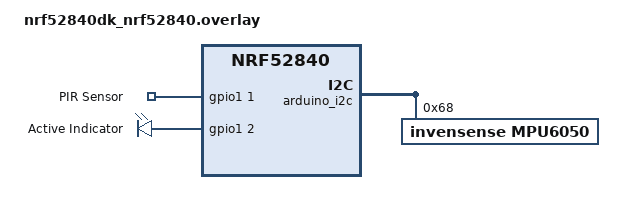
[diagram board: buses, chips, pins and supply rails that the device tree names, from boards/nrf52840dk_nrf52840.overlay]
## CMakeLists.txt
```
# SPDX-License-Identifier: MIT
cmake_minimum_required(VERSION 3.20)
find_package(Zephyr REQUIRED HINTS $ENV{ZEPHYR_BASE})
project(bthome_tut2_pm)
target_sources(app PRIVATE
    src/main.c
    src/sensors/sensor_die_temp.c
    src/sensors/sensor_imu.c
    src/sensors/sensor_pir.c
)
target_include_directories(app PRIVATE src)
```

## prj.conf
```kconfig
# ── Bluetooth ──────────────────────────────────────────────────────────────
CONFIG_BT=y
CONFIG_BT_PERIPHERAL=y
CONFIG_BT_DEVICE_NAME="MAKE-020"

# ── BThome V2 library ───────────────────────────────────────────────────────
CONFIG_BTHOME_V2=y

# ── Sensor framework ────────────────────────────────────────────────────────
CONFIG_SENSOR=y
CONFIG_I2C=y

# ── nRF52 internal die-temperature sensor ───────────────────────────────────
CONFIG_TEMP_NRF5=y

# ── IMU: select ONE depending on hardware (see board-specific .conf files) ──
# CONFIG_MPU6050=y     # nRF52840-DK + MPU-6050 breakout
# CONFIG_LSM6DSL=y     # Seeed XIAO nRF52840 Sense (LSM6DS3 = LSM6DSL-compatible)

# ── GPIO ────────────────────────────────────────────────────────────────────
CONFIG_GPIO=y

# ── Logging ─────────────────────────────────────────────────────────────────
# Enabled for development (nRF52840-DK via RTT / UART).
# On XIAO targets this is overridden to CONFIG_LOG=n via boards/xiao_ble*.conf
# to eliminate the deferred-log work queue as a wake-up source.
# LOG_DEFAULT_LEVEL is intentionally not set — Zephyr default is INF (3).
CONFIG_LOG=y

# ── Stack sizes ─────────────────────────────────────────────────────────────
CONFIG_MAIN_STACK_SIZE=2048
CONFIG_BT_RX_STACK_SIZE=1024

# ── Power Management ─────────────────────────────────────────────────────────
# NOTE: CONFIG_PM (System Power Management) is intentionally NOT set here.
# On nRF52, the Zephyr Kconfig chain does not select HAS_PM, so CONFIG_PM=y
# would be silently ignored anyway.  The CPU enters System ON / CPU asleep
# (WFI) via the kernel idle thread — no extra CONFIG_PM hook needed.
#
# What IS useful on nRF52:
#   PM_DEVICE=y          → enables pm_device_action_run() for manual suspend/resume
#   TICKLESS_KERNEL=y    → SysTick stops during sleep (~300 µA saved on DK)
#
# CONFIG_PM_DEVICE_RUNTIME=y is also NOT set: it auto-suspends devices during
# kernel idle, but that mechanism requires CONFIG_PM=y to trigger.  Without it,
# we do explicit suspend/resume in main() around k_sleep() instead.
CONFIG_PM_DEVICE=y
CONFIG_TICKLESS_KERNEL=y
CONFIG_IDLE_STACK_SIZE=512
```

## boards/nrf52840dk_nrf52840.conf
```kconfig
# nRF52840-DK board-specific config for bthome_full_node
# IMU: MPU-6050 breakout connected via Arduino-I2C header (SDA=P0.26, SCL=P0.27)
CONFIG_MPU6050=y

# ── Power saving ──────────────────────────────────────────────────────────────
# SERIAL/UARTE0 holds a 16 MHz HFINT request as soon as the driver initialises.
# Same applies to CONSOLE and LOG output — all disabled for sleep measurements.
CONFIG_SERIAL=n
CONFIG_CONSOLE=n
CONFIG_UART_CONSOLE=n
CONFIG_LOG=n

# ── BLE deep-sleep: full MPSL uninit dependency chain ────────────────────────
# See boards/xiao_ble.conf for explanation.
CONFIG_DYNAMIC_INTERRUPTS=y
CONFIG_DYNAMIC_DIRECT_INTERRUPTS=y
CONFIG_MPSL_DYNAMIC_INTERRUPTS=y
CONFIG_BT_UNINIT_MPSL_ON_DISABLE=y
```

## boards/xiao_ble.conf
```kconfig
# Seeed XIAO nRF52840 (plain) — board-specific config for bthome_tut2 (PM)
#
# The XIAO nRF52840 has NO external 32.768 kHz crystal.
# Use the internal RC oscillator (LFRC) for BLE — mandatory!
# With RC source the default accuracy is already 500 PPM (no extra config needed).
CONFIG_CLOCK_CONTROL_NRF_K32SRC_RC=y

# Plain XIAO has no IMU — use xiao_ble_sense for the Sense variant.

# ── Power saving (same logic as xiao_ble_sense.conf) ─────────────────────────
CONFIG_USB_DEVICE_STACK=n
# NOTE: Kconfig will emit a harmless warning about USB_CDC_ACM_LOG_LEVEL_OFF
# being an orphaned choice symbol.  This is a known issue in the xiao_ble
# board defconfig (upstream): it sets USB_CDC_ACM_LOG_LEVEL_OFF=y, but when
# USB_DEVICE_STACK=n the USB_CDC_ACM choice group is gone.  There is no way
# to suppress this from an overlay .conf — a board-defconfig patch is needed.
CONFIG_SERIAL=n
CONFIG_CONSOLE=n
CONFIG_UART_CONSOLE=n
CONFIG_LOG=n

# ── BLE deep-sleep: MPSL must be uninitialized on bt_disable() ───────────────
# Without this flag, bt_disable() calls sdc_disable() but leaves MPSL running.
# MPSL holds a HFCLK request via the clock-control driver → 16 MHz HFINT stays
# on → ~600 µA base current even with the CPU in WFI.
# With this flag, bt_disable() also calls mpsl_lib_uninit(), which releases
# every HFCLK request and allows the nRF52840 to reach System ON idle (~5 µA).
#
# BT_UNINIT_MPSL_ON_DISABLE depends on MPSL_DYNAMIC_INTERRUPTS, which in turn
# depends on DYNAMIC_DIRECT_INTERRUPTS → DYNAMIC_INTERRUPTS.  ALL four options
# are required; Kconfig silently ignores BT_UNINIT_MPSL_ON_DISABLE if any
# dependency in the chain is missing.
CONFIG_DYNAMIC_INTERRUPTS=y
CONFIG_DYNAMIC_DIRECT_INTERRUPTS=y
CONFIG_MPSL_DYNAMIC_INTERRUPTS=y
CONFIG_BT_UNINIT_MPSL_ON_DISABLE=y

# ── LFRC calibration: must be disabled when using BT_UNINIT_MPSL_ON_DISABLE ──
# Zephyr's LFRC calibration (nrf_clock_calibration.c) fires a k_timer every
# CONFIG_CLOCK_CONTROL_NRF_CALIBRATION_PERIOD ms.  With CALIBRATION_MAX_SKIP>0
# it compiles USE_TEMP_SENSOR=1, meaning the calibration callback reads
# temperature via mpsl_temperature_get().  After mpsl_lib_uninit(), that call
# blocks indefinitely → hf_release() is never called → HFCLK stays on at
# 630 µA permanently.  A second timer fire adds another +500 µA.
# MPSL manages its own LFRC calibration internally during BLE active phases;
# the Zephyr-level calibration is redundant and dangerous in this configuration.
CONFIG_CLOCK_CONTROL_NRF_K32SRC_RC_CALIBRATION=n
```

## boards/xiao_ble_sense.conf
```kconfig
# Seeed XIAO nRF52840 Sense — board-specific config for bthome_tut2 (PM)
#
# The XIAO nRF52840 has NO external 32.768 kHz crystal.
# Use the internal RC oscillator (LFRC) for BLE — mandatory!
# With RC source the default accuracy is already 500 PPM (no extra config needed).
CONFIG_CLOCK_CONTROL_NRF_K32SRC_RC=y

# IMU: LSM6DS3TR-C on the Sense variant (LSM6DSL-compatible driver)
CONFIG_LSM6DSL=y

# ── Power saving ─────────────────────────────────────────────────────────────
#
# Board defconfig (xiao_ble_defconfig) enables USB + UART + CONSOLE by default.
# All three must be explicitly overridden to reach µA-range idle current.
#
# Current breakdown (measured with PPK2):
#   USB_DEVICE_STACK=y  → ~1.1 mA  (USB SOF IRQ every 1 ms, keeps HFXO alive)
#   SERIAL=y            → ~1.0 mA  (UARTE0 keeps 16 MHz HFINT oscillator running)
#   Both off + WFI      → ~5–15 µA (System ON / CPU asleep, BLE LFRC polling)

# Disable USB (was default-on, prevents deep sleep)
CONFIG_USB_DEVICE_STACK=n
CONFIG_USB_CDC_ACM=n
# NOTE: Kconfig emits a harmless warning about USB_CDC_ACM_LOG_LEVEL_OFF (see
# boards/xiao_ble.conf for explanation).  Not fixable without a board patch.

# !! MAIN FIX !!
# Disable UART driver — this is the dominant ~1 mA drain.
# UARTE0 keeps the 16 MHz HFINT oscillator running at all times once initialized,
# even when no data is being transferred.  Setting SERIAL=n prevents the nrfx
# UARTE driver from being compiled and the peripheral from being initialized.
CONFIG_SERIAL=n

# With neither USB nor UART there is no physical output path.
# Disable all console / log output to match.
CONFIG_CONSOLE=n
CONFIG_UART_CONSOLE=n
CONFIG_LOG=n

# ── BLE deep-sleep: MPSL must be uninitialized on bt_disable() ───────────────
# See xiao_ble.conf for full explanation and dependency chain.
CONFIG_DYNAMIC_INTERRUPTS=y
CONFIG_DYNAMIC_DIRECT_INTERRUPTS=y
CONFIG_MPSL_DYNAMIC_INTERRUPTS=y
CONFIG_BT_UNINIT_MPSL_ON_DISABLE=y

# ── LFRC calibration: must be disabled — see xiao_ble.conf for explanation ───
CONFIG_CLOCK_CONTROL_NRF_K32SRC_RC_CALIBRATION=n
```

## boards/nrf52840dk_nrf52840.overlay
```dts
/* SPDX-License-Identifier: MIT */
/*
 * bthome_full_node overlay for nRF52840-DK
 *
 * Hardware assumptions:
 *   I2C IMU  : MPU-6050 breakout @ 0x68 on Arduino-I2C header
 *              (SDA = P0.26 / Arduino A4, SCL = P0.27 / Arduino A5)
 *   PIR GPIO : Signal pin → P1.01 (Arduino D0), power via 3.3 V header
 */

/* ── MPU-6050 on the Arduino-compatible I2C bus (i2c0) ─────────────────── */
&arduino_i2c {
	mpu6050: mpu6050@68 {
		compatible = "invensense,mpu6050";
		reg = <0x68>;
		status = "okay";
	};
};

/* ── PIR sensor GPIO ────────────────────────────────────────────────────── */
/ {
	pir_inputs: pir_inputs {
		compatible = "gpio-keys";
		pir0: pir_0 {
			gpios = <&gpio1 1 (GPIO_ACTIVE_HIGH | GPIO_PULL_DOWN)>;
			label = "PIR Sensor";
		};
	};

/* ── PPK2 active-indicator ──────────────────────────────────────── */
        /* P1.02 = Arduino D1 on the nRF52840-DK.
         * Drive HIGH when awake, LOW inside k_sleep().
         * Connect to a digital input channel on the PPK2 (Logic port). */
        active_ind: active_indicator {
                compatible = "gpio-leds";
                active0: active_0 {
                        gpios = <&gpio1 2 GPIO_ACTIVE_HIGH>;
                        label = "Active Indicator";
                };
        };

        aliases {
                imu              = &mpu6050;
                pir-sensor       = &pir0;
                active-indicator = &active0;
	};
};
```

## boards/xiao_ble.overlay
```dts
/* SPDX-License-Identifier: MIT */
/*
 * bthome_full_node overlay for Seeed XIAO nRF52840 (plain, no IMU)
 *
 * The plain xiao_ble has no LSM6DS3 — disable IMU and PIR alias only.
 * Use BOARD=xiao_ble_sense for the Sense variant with IMU.
 */

/* ── PIR sensor GPIO ────────────────────────────────────────────────────── */
/ {
	pir_inputs: pir_inputs {
		compatible = "gpio-keys";
		pir0: pir_0 {
			gpios = <&gpio0 29 (GPIO_ACTIVE_HIGH | GPIO_PULL_DOWN)>;
			label = "PIR Sensor";
		};
	};

	/* ── PPK2 active-indicator ─────────────────────────────────────────── */
	/* P0.02 = D0 on the XIAO connector.  Drive HIGH when awake, LOW before
	 * k_sleep().  Connect to a digital input channel on the PPK2 to
	 * correlate current spikes with code execution phases. */
	active_ind: active_indicator {
		compatible = "gpio-leds";
		active0: active_0 {
			gpios = <&gpio0 2 GPIO_ACTIVE_HIGH>;
			label = "Active Indicator";
		};
	};

	aliases {
		pir-sensor      = &pir0;
		active-indicator = &active0;
	};
};

/* ── Disable QSPI flash ──────────────────────────────────────────────────── */
/* The P25Q16H flash is defined as okay in xiao_ble_common.dtsi.
 * If no physical flash is present the driver still initialises the QSPI
 * peripheral and holds the HFINT oscillator active via DMA-ready state.
 * Disabling the node prevents the driver from probing and avoids the
 * ~200 µA residual from the QSPI peripheral. */
&qspi {
	status = "disabled";
};

/* ── Disable unused I2C1 (external connector) ─────────────────────────────── */
/* i2c1 (nordic,nrf-twi, P0.04/P0.05) is enabled in xiao_ble_common.dtsi but
 * is not used by any sensor in this application.  The nrfx TWI driver calls
 * nrfx_twi_enable() at init, which sets the TWI ENABLE register and holds
 * a HFCLK (16 MHz) request.  This alone causes ~650 µA during sleep even
 * after MPSL is uninitialized.  Disabling the node prevents initialization. */
&i2c1 {
	status = "disabled";
};
```

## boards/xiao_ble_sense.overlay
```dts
/* SPDX-License-Identifier: MIT */
/*
 * bthome_full_node overlay for Seeed XIAO nRF52840 Sense
 *
 * The LSM6DS3TR-C on i2c0 is already defined in the board DTS
 * (xiao_ble_sense.dts) — we only add the imu alias and the PIR GPIO.
 *
 *   IMU  : lsm6ds3tr_c @ 0x6A on i2c0 (P0.07=SDA, P0.27=SCL)
 *          Power-enable: P1.08 (handled by board DTS regulator node)
 *   PIR  : P0.29 (XIAO D3), active-high with pull-down
 */

/* ── PIR sensor GPIO ────────────────────────────────────────────────────── */
/ {
	pir_inputs: pir_inputs {
		compatible = "gpio-keys";
		pir0: pir_0 {
			gpios = <&gpio0 29 (GPIO_ACTIVE_HIGH | GPIO_PULL_DOWN)>;
			label = "PIR Sensor";
		};
	};

        /* ── PPK2 active-indicator ─────────────────────────────────────────── */
        /* P0.02 = D0 on the XIAO connector.  Drive HIGH when awake, LOW before
         * k_sleep().  Connect to a digital input channel on the PPK2 to
         * correlate current spikes with code execution phases. */
        active_ind: active_indicator {
                compatible = "gpio-leds";
                active0: active_0 {
                        gpios = <&gpio0 2 GPIO_ACTIVE_HIGH>;
                        label = "Active Indicator";
                };
        };

        aliases {
                imu              = &lsm6ds3tr_c;
                pir-sensor       = &pir0;
                active-indicator = &active0;
        };
};

/* ── Disable QSPI flash ──────────────────────────────────────────────────── */
/* Same reason as xiao_ble.overlay — prevents HFINT drain from QSPI init. */
&qspi {
        status = "disabled";
};

/* ── Disable unused I2C1 (external connector) ─────────────────────────────── */
/* See xiao_ble.overlay for explanation.  On the Sense, the IMU uses i2c0;
 * i2c1 (P0.04/P0.05) is the external connector I2C and is never used. */
&i2c1 {
        status = "disabled";
};

/* ── Disable microphone power (P1.10) ───────────────────────────────────── */
/* The MSM261D3526H1CPM PDM microphone is powered via P1.10 (active-high).
 * The regulator-fixed node from the board DTS keeps P1.10 driven high after
 * boot (regulator-boot-on).  Adding regulator-always-off here overrides
 * that and prevents the mic from being powered — saves ~100 µA. */
/ {
        mic-vdd-off {
                compatible = "regulator-fixed";
                regulator-name = "MIC_PWR_OFF";
                enable-gpios = <&gpio1 10 GPIO_ACTIVE_HIGH>;
                regulator-always-off;
        };
};
```

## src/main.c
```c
/* SPDX-License-Identifier: MIT */
/*
 * Copyright (c) 2026 Daniel Glaser
 *
 * BThome V2 Tutorial 2 — Power-Managed Node
 * ==========================================
 * Same sensor set as Tutorial 1, but with Zephyr Power Management:
 *
 *  - CONFIG_PM=y            CPU enters WFI / light sleep during k_sleep()
 *  - CONFIG_PM_DEVICE=y     I2C bus and sensor drivers can be suspended
 *  - CONFIG_PM_DEVICE_RUNTIME=y  Automatic suspend when device is idle
 *  - CONFIG_TICKLESS_KERNEL=y    SysTick stops during sleep (~300 µA saved)
 *
 * Between measurements the main thread calls k_sleep().  The kernel idle
 * thread then issues a WFI instruction, allowing the nRF52840 to enter the
 * "System ON / CPU asleep" state (~3 µA base current vs. ~4 mA active).
 *
 * Build (nRF52840-DK):
 *   west build -b nrf52840dk_nrf52840 samples/020_bthome_tut2
 *
 * Build (Seeed XIAO nRF52840 Sense):
 *   west build -b xiao_ble_sense samples/020_bthome_tut2
 *
 * Verify with bthome-logger:
 *   uv tool install bthome-logger && bthome-logger -f "MAKE"
 */

#include <zephyr/kernel.h>
#include <zephyr/logging/log.h>
#include <zephyr/bluetooth/bluetooth.h>
#include <zephyr/bluetooth/hci.h>
#include <zephyr/drivers/gpio.h>
#include <zephyr/pm/device.h>

#include <bthome_v2/bthome_v2.h>

#include "sensors/sensor_die_temp.h"
#include "sensors/sensor_imu.h"
#include "sensors/sensor_pir.h"

LOG_MODULE_REGISTER(bthome_node, LOG_LEVEL_INF);

/* ── Device handles for suspend/resume ──────────────────────────────────── */
/*
 * On the Seeed XIAO nRF52840 Sense the IMU hangs on i2c0.
 * Suspending the child device first, then the bus saves the I2C pull-up
 * current and stops the LSM6DS3TR-C sampling (~0.9 mA in normal mode).
 * On boards without these nodes the DT macros resolve to nothing and the
 * pm_suspend/resume helpers compile away to empty stubs.
 */
#if DT_NODE_HAS_STATUS(DT_NODELABEL(lsm6ds3tr_c), okay)
#define HAS_IMU_PM 1
static const struct device *imu_dev =
	DEVICE_DT_GET(DT_NODELABEL(lsm6ds3tr_c));
#else
#define HAS_IMU_PM 0
#endif

#if DT_NODE_HAS_STATUS(DT_NODELABEL(i2c0), okay)
#define HAS_I2C_PM 1
static const struct device *i2c_dev =
	DEVICE_DT_GET(DT_NODELABEL(i2c0));
#else
#define HAS_I2C_PM 0
#endif

/* ── Timing ──────────────────────────────────────────────────────────────── */
/** Total measurement cycle length in seconds. */
#define ADVERT_INTERVAL_SEC  30
/**
 * How long to advertise per cycle ("burst" window).
 *
 * The BLE controller holds the 16 MHz HFCLK active as long as advertising
 * is running.  Stopping advertising with bt_le_adv_stop() releases the
 * HFCLK request completely, allowing the nRF52840 to drop to ~3-8 µA
 * in System ON / CPU asleep mode.
 *
 * 3 seconds is enough for Home Assistant to receive several packets
 * (at slow interval ~1 s) before the device goes back to sleep.
 */
#define ADV_BURST_SEC         3

/* ── BLE advertising parameters ─────────────────────────────────────────── */
static const struct bt_le_adv_param adv_param =
	BT_LE_ADV_PARAM_INIT(BT_LE_ADV_OPT_USE_IDENTITY,
			     BT_GAP_ADV_SLOW_INT_MIN,
			     BT_GAP_ADV_SLOW_INT_MAX,
			     NULL);

/* ── BThome V2 context ───────────────────────────────────────────────────── */
static struct bthome_v2_ctx bthome;

/* ── Advertising data: Flags + Name + BThome service data ──────────────── */
/* Layout: flags(3B) + name(10B) + svcdata(18B) = 31B exactly — no overflow */
static struct bt_data ad[3];

/* ── Packet counter (incremented each advertisement) ────────────────────── */
static uint8_t pkt_id;

/* ── LED2 (alias "led1" on nRF52840-DK) ─────────────────────────────────── */
#if DT_NODE_HAS_STATUS(DT_ALIAS(led1), okay)
static const struct gpio_dt_spec led2 =
	GPIO_DT_SPEC_GET(DT_ALIAS(led1), gpios);
#define HAS_LED2 1
#else
#define HAS_LED2 0
#endif
/* ── PPK2 active-indicator (P0.02 / D0) ────────────────────────────────── */
/* HIGH = CPU awake, LOW = inside k_sleep(). Connect to PPK2 DI channel. */
#if DT_NODE_HAS_STATUS(DT_ALIAS(active_indicator), okay)
static const struct gpio_dt_spec active_ind =
	GPIO_DT_SPEC_GET(DT_ALIAS(active_indicator), gpios);
#define HAS_ACTIVE_IND 1
#else
#define HAS_ACTIVE_IND 0
#endif
/* ── Encode sensor data into ad[2] ──────────────────────────────────────── */
/*
 * Does NOT call bt_le_adv_update_data() — advertising is started fresh
 * each cycle via bt_le_adv_start(), so updating while running is not needed.
 */
static void encode_advertisement(void)
{
	int ret;

#if HAS_LED2
	gpio_pin_set_dt(&led2, 1);
#endif

	bthome_v2_clear(&bthome);
	bthome_v2_add_packet_id(&bthome, pkt_id++);

	sensor_die_temp_update(&bthome);
	sensor_imu_update(&bthome);
	sensor_pir_update(&bthome);

	ret = bthome_v2_encode(&bthome);
	if (ret < 0) {
		LOG_ERR("BThome encode failed: %d", ret);
		goto out;
	}

	ret = bthome_v2_get_bt_data(&bthome, &ad[2]);
	if (ret < 0) {
		LOG_ERR("bthome_v2_get_bt_data failed: %d", ret);
	}

out:
#if HAS_LED2
	k_sleep(K_MSEC(50));
	gpio_pin_set_dt(&led2, 0);
#else
	(void)ret;
#endif
}

/* ── Main ────────────────────────────────────────────────────────────────── */

int main(void)
{
	int ret;

	LOG_INF("BThome V2 Tutorial 2 (PM) starting");

	/* ── Initialise LED2 ────────────────────────────────────────────── */
#if HAS_LED2
	if (gpio_is_ready_dt(&led2)) {
		gpio_pin_configure_dt(&led2, GPIO_OUTPUT_INACTIVE);
	}
#endif
	/* ── Initialise active-indicator pin (P0.02 / D0) ─────────────────── */
#if HAS_ACTIVE_IND
	if (gpio_is_ready_dt(&active_ind)) {
		gpio_pin_configure_dt(&active_ind, GPIO_OUTPUT_INACTIVE);
	}
#endif
	/* ── Initialise sensors ─────────────────────────────────────────── */
	sensor_pir_init();

	/* ── Initialise BThome V2 context ───────────────────────────────── */
	bthome_v2_init(&bthome, false, false);

	/* ── Build static advertising header (Flags + Name) ────────────── */
	ad[0] = (struct bt_data)
		BT_DATA_BYTES(BT_DATA_FLAGS,
			      BT_LE_AD_GENERAL | BT_LE_AD_NO_BREDR);
	ad[1] = (struct bt_data)
		BT_DATA(BT_DATA_NAME_COMPLETE,
			CONFIG_BT_DEVICE_NAME,
			sizeof(CONFIG_BT_DEVICE_NAME) - 1);

	/* ── Enable Bluetooth ───────────────────────────────────────────── */
	ret = bt_enable(NULL);
	if (ret) {
		LOG_ERR("bt_enable failed: %d", ret);
		return ret;
	}
	LOG_INF("Bluetooth enabled");

	/* Active-indicator HIGH: system operational */
#if HAS_ACTIVE_IND
	gpio_pin_set_dt(&active_ind, 1);
#endif

	/* ── Main loop ──────────────────────────────────────────────────── */
	while (true) {
		/*
		 * ── Step 1: measure + encode ───────────────────────────── *
		 * Resume I2C/IMU first (no-op on boards without them).
		 */
#if HAS_I2C_PM
		pm_device_action_run(i2c_dev, PM_DEVICE_ACTION_RESUME);
#endif
#if HAS_IMU_PM
		pm_device_action_run(imu_dev, PM_DEVICE_ACTION_RESUME);
#endif

		encode_advertisement();

		/*
		 * ── Step 2: burst advertising ──────────────────────────── *
		 * Start advertising with fresh payload, wait ADV_BURST_SEC,
		 * then stop.  bt_disable() below is what actually releases
		 * the HFCLK request held by the BLE controller.
		 */
		ret = bt_le_adv_start(&adv_param, ad, ARRAY_SIZE(ad), NULL, 0);
		if (ret) {
			LOG_ERR("bt_le_adv_start failed: %d", ret);
		}

		LOG_INF("Advertising burst %d s...", ADV_BURST_SEC);
		k_sleep(K_SECONDS(ADV_BURST_SEC));

		bt_le_adv_stop();

		/*
		 * bt_disable() is the ONLY way to make the SDC release its
		 * HFCLK request.  bt_le_adv_stop() alone is not enough —
		 * the BLE controller keeps the 16 MHz HFINT oscillator running
		 * as long as bt_enable() is active, drawing ~640 µA even with
		 * the CPU in WFI.  bt_disable() synchronously tears down the
		 * controller and releases HFCLK before returning.
		 *
		 * bt_enable(NULL) at the end of the loop re-initialises the
		 * controller for the next advertising burst (~10-50 ms).
		 */
		bt_disable();

		/*
		 * ── Step 3: deep sleep ──────────────────────────────────── *
		 * Suspend peripherals, drive indicator LOW, sleep.
		 * With HFCLK released and CPU in WFI the nRF52840 draws
		 * ~3-15 µA (LFRC oscillator keep-alive only).
		 */
#if HAS_IMU_PM
		pm_device_action_run(imu_dev, PM_DEVICE_ACTION_SUSPEND);
#endif
#if HAS_I2C_PM
		pm_device_action_run(i2c_dev, PM_DEVICE_ACTION_SUSPEND);
#endif

#if HAS_ACTIVE_IND
		gpio_pin_set_dt(&active_ind, 0);
#endif

		LOG_INF("Sleeping %d s...", ADVERT_INTERVAL_SEC - ADV_BURST_SEC);
		k_sleep(K_SECONDS(ADVERT_INTERVAL_SEC - ADV_BURST_SEC));

#if HAS_ACTIVE_IND
		gpio_pin_set_dt(&active_ind, 1);
#endif

		/* Re-enable BT controller for next cycle.
		 * NULL callback = block until ready (~10-50 ms). */
		ret = bt_enable(NULL);
		if (ret) {
			LOG_ERR("bt_enable (re-init) failed: %d", ret);
		}
	}

	return 0;
}
```
